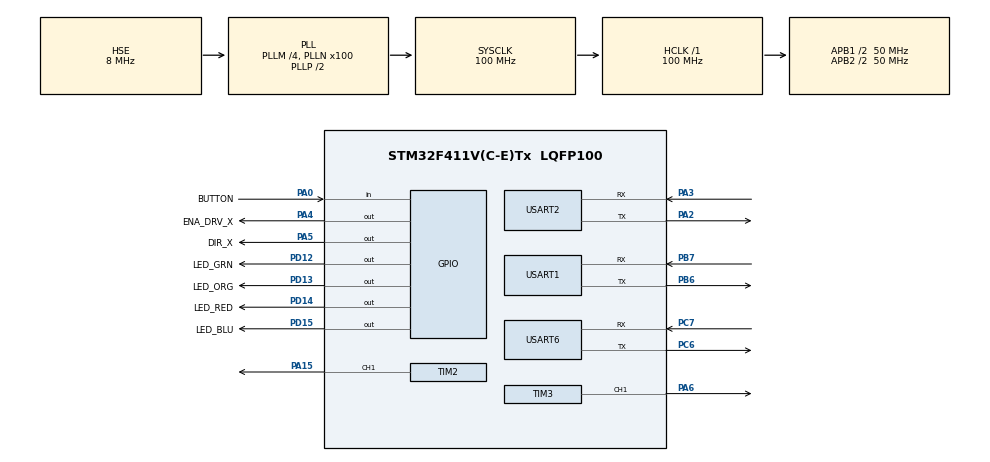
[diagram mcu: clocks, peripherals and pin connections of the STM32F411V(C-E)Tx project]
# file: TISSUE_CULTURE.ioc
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Mcu.Family=STM32F4
Mcu.Name=STM32F411V(C-E)Tx
Mcu.Package=LQFP100
NVIC.PriorityGroup=NVIC_PRIORITYGROUP_4
PA0-WKUP.GPIO_Label=BUTTON
PA0-WKUP.Signal=GPIO_Input
PA15.Signal=S_TIM2_CH1_ETR
PA2.Mode=Asynchronous
PA2.Signal=USART2_TX
PA3.Mode=Asynchronous
PA3.Signal=USART2_RX
PA4.GPIO_Label=ENA_DRV_X
PA4.PinState=GPIO_PIN_SET
PA4.Signal=GPIO_Output
PA5.GPIO_Label=DIR_X
PA5.Signal=GPIO_Output
PA6.Signal=S_TIM3_CH1
PB6.GPIO_ModeDefaultPP=GPIO_MODE_AF_OD
PB6.GPIO_PuPd=GPIO_PULLUP
PB6.Mode=Asynchronous
PB6.Signal=USART1_TX
PB7.Mode=Asynchronous
PB7.Signal=USART1_RX
PC6.Mode=Asynchronous
PC6.Signal=USART6_TX
PC7.Mode=Asynchronous
PC7.Signal=USART6_RX
PD12.GPIO_Label=LED_GRN
PD12.PinState=GPIO_PIN_SET
PD12.Signal=GPIO_Output
PD13.GPIO_Label=LED_ORG
PD13.PinState=GPIO_PIN_SET
PD13.Signal=GPIO_Output
PD14.GPIO_Label=LED_RED
PD14.PinState=GPIO_PIN_SET
PD14.Signal=GPIO_Output
PD15.GPIO_Label=LED_BLU
PD15.PinState=GPIO_PIN_SET
PD15.Signal=GPIO_Output
PH0\ -\ OSC_IN.Mode=HSE-External-Oscillator
PH0\ -\ OSC_IN.Signal=RCC_OSC_IN
PH1\ -\ OSC_OUT.Mode=HSE-External-Oscillator
PH1\ -\ OSC_OUT.Signal=RCC_OSC_OUT
ProjectManager.HeapSize=0x200
ProjectManager.StackSize=0x400
ProjectManager.TargetToolchain=STM32CubeIDE
RCC.48MHZClocksFreq_Value=50000000
RCC.AHBFreq_Value=100000000
RCC.APB1CLKDivider=RCC_HCLK_DIV2
RCC.APB1Freq_Value=50000000
RCC.APB1TimFreq_Value=100000000
RCC.APB2CLKDivider=RCC_HCLK_DIV2
RCC.APB2Freq_Value=50000000
RCC.APB2TimFreq_Value=100000000
RCC.CortexFreq_Value=100000000
RCC.HCLKFreq_Value=100000000
RCC.HSE_VALUE=8000000
RCC.HSI_VALUE=16000000
RCC.LSE_VALUE=32768
RCC.PLLM=4
RCC.PLLN=100
RCC.PLLSourceVirtual=RCC_PLLSOURCE_HSE
RCC.SYSCLKFreq_VALUE=100000000
RCC.SYSCLKSource=RCC_SYSCLKSOURCE_PLLCLK
RCC.VCOOutputFreq_Value=200000000
SH.S_TIM2_CH1_ETR.0=TIM2_CH1,PWM Generation1 CH1
SH.S_TIM3_CH1.0=TIM3_CH1,PWM Generation1 CH1
TIM2.AutoReloadPreload=TIM_AUTORELOAD_PRELOAD_ENABLE
TIM2.Channel-PWM\ Generation1\ CH1=TIM_CHANNEL_1
TIM2.Period=999
TIM2.Prescaler=99
TIM2.Pulse-PWM\ Generation1\ CH1=0
TIM3.AutoReloadPreload=TIM_AUTORELOAD_PRELOAD_ENABLE
TIM3.Channel-PWM\ Generation1\ CH1=TIM_CHANNEL_1
TIM3.Period=99
TIM3.Prescaler=999
TIM3.Pulse-PWM\ Generation1\ CH1=0
USART1.VirtualMode=VM_ASYNC
USART2.VirtualMode=VM_ASYNC
USART6.VirtualMode=VM_ASYNC
VP_TIM2_VS_ClockSourceINT.Mode=Internal
VP_TIM3_VS_ClockSourceINT.Mode=Internal
board=custom

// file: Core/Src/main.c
/* USER CODE BEGIN Header */
/**
 ******************************************************************************
 * @file           : main.c
 * @brief          : Main program body
 ******************************************************************************
 * @attention
 *
 * Copyright (c) 2026 STMicroelectronics.
 * All rights reserved.
 *
 * This software is licensed under terms that can be found in the LICENSE file
 * in the root directory of this software component.
 * If no LICENSE file comes with this software, it is provided AS-IS.
 *
 ******************************************************************************
 */
/* USER CODE END Header */
#include "main.h"

/* USER CODE BEGIN Includes */
#include "program.h"
/* USER CODE END Includes */

TIM_HandleTypeDef htim2;
TIM_HandleTypeDef htim3;

UART_HandleTypeDef huart1;
UART_HandleTypeDef huart2;
UART_HandleTypeDef huart6;

void SystemClock_Config(void);
static void MX_GPIO_Init(void);
static void MX_USART2_UART_Init(void);
static void MX_USART6_UART_Init(void);
static void MX_USART1_UART_Init(void);
static void MX_TIM3_Init(void);
static void MX_TIM2_Init(void);

int main(void)
{

  /* MCU Configuration--------------------------------------------------------*/

  /* Reset of all peripherals, Initializes the Flash interface and the Systick. */
  HAL_Init();

  /* Configure the system clock */
  SystemClock_Config();

  /* Initialize all configured peripherals */
  MX_GPIO_Init();
  MX_USART2_UART_Init();
  MX_USART6_UART_Init();
  MX_USART1_UART_Init();
  MX_TIM3_Init();
  MX_TIM2_Init();
  /* USER CODE BEGIN 2 */

  motor_begin(MOTOR_ID_0);
  check_motor_addr(MOTOR_ID_0);
  motor_rms_current(MOTOR_ID_0, 530);              // Set RMS current
  motor_microstep(MOTOR_ID_0, MICRO_STEPPING_128); // Set microstepping
                                                   //  check_motor_addr(MOTOR_ID_0);
  motor_silent_mode(MOTOR_ID_0, true);             // Enable SilentStepStick mode for quieter operation

  motor_begin(MOTOR_ID_1);
  check_motor_addr(MOTOR_ID_1);
  motor_rms_current(MOTOR_ID_1, 530);              // Set RMS current
  motor_microstep(MOTOR_ID_1, MICRO_STEPPING_128); // Set microstepping
                                                   //  check_motor_addr(MOTOR_ID_0);
  motor_silent_mode(MOTOR_ID_1, true);             // Enable SilentStepStick mode for quieter operation

  // Start PWM on Timer 1, Channel 3
  HAL_TIM_PWM_Start(&htim2, TIM_CHANNEL_1);
  HAL_TIM_PWM_Start(&htim3, TIM_CHANNEL_1);
  /* USER CODE END 2 */

  /* Infinite loop */
  /* USER CODE BEGIN WHILE */
  while (1)
  {
    pwm_set_freq(&htim3, 10000);
    HAL_Delay(3000);
    pwm_set_freq(&htim3, 1000);
    HAL_Delay(3000);
    __HAL_TIM_SET_COMPARE(&htim3, TIM_CHANNEL_1, htim3.Instance->ARR); // Set duty cycle to 25%

    pwm_set_freq(&htim2, 10000);
    HAL_Delay(3000);
    pwm_set_freq(&htim2, 1000);
    HAL_Delay(3000);
    __HAL_TIM_SET_COMPARE(&htim2, TIM_CHANNEL_1, htim2.Instance->ARR); // Set duty cycle to 25%

    /* USER CODE END WHILE */

  }
}

void SystemClock_Config(void)
{
  RCC_OscInitTypeDef RCC_OscInitStruct = {0};
  RCC_ClkInitTypeDef RCC_ClkInitStruct = {0};

  /** Configure the main internal regulator output voltage
   */
  __HAL_RCC_PWR_CLK_ENABLE();
  __HAL_PWR_VOLTAGESCALING_CONFIG(PWR_REGULATOR_VOLTAGE_SCALE1);

  /** Initializes the RCC Oscillators according to the specified parameters
   * in the RCC_OscInitTypeDef structure.
   */
  RCC_OscInitStruct.OscillatorType = RCC_OSCILLATORTYPE_HSE;
  RCC_OscInitStruct.HSEState = RCC_HSE_ON;
  RCC_OscInitStruct.PLL.PLLState = RCC_PLL_ON;
  RCC_OscInitStruct.PLL.PLLSource = RCC_PLLSOURCE_HSE;
  RCC_OscInitStruct.PLL.PLLM = 4;
  RCC_OscInitStruct.PLL.PLLN = 100;
  RCC_OscInitStruct.PLL.PLLP = RCC_PLLP_DIV2;
  RCC_OscInitStruct.PLL.PLLQ = 4;
  if (HAL_RCC_OscConfig(&RCC_OscInitStruct) != HAL_OK)
  {
    Error_Handler();
  }

  /** Initializes the CPU, AHB and APB buses clocks
   */
  RCC_ClkInitStruct.ClockType = RCC_CLOCKTYPE_HCLK | RCC_CLOCKTYPE_SYSCLK | RCC_CLOCKTYPE_PCLK1 | RCC_CLOCKTYPE_PCLK2;
  RCC_ClkInitStruct.SYSCLKSource = RCC_SYSCLKSOURCE_PLLCLK;
  RCC_ClkInitStruct.AHBCLKDivider = RCC_SYSCLK_DIV1;
  RCC_ClkInitStruct.APB1CLKDivider = RCC_HCLK_DIV2;
  RCC_ClkInitStruct.APB2CLKDivider = RCC_HCLK_DIV2;

  if (HAL_RCC_ClockConfig(&RCC_ClkInitStruct, FLASH_LATENCY_3) != HAL_OK)
  {
    Error_Handler();
  }
}

static void MX_TIM2_Init(void)
{

  TIM_ClockConfigTypeDef sClockSourceConfig = {0};
  TIM_MasterConfigTypeDef sMasterConfig = {0};
  TIM_OC_InitTypeDef sConfigOC = {0};

  htim2.Instance = TIM2;
  htim2.Init.Prescaler = 99;
  htim2.Init.CounterMode = TIM_COUNTERMODE_UP;
  htim2.Init.Period = 999;
  htim2.Init.ClockDivision = TIM_CLOCKDIVISION_DIV1;
  htim2.Init.AutoReloadPreload = TIM_AUTORELOAD_PRELOAD_ENABLE;
  if (HAL_TIM_Base_Init(&htim2) != HAL_OK)
  {
    Error_Handler();
  }
  sClockSourceConfig.ClockSource = TIM_CLOCKSOURCE_INTERNAL;
  if (HAL_TIM_ConfigClockSource(&htim2, &sClockSourceConfig) != HAL_OK)
  {
    Error_Handler();
  }
  if (HAL_TIM_PWM_Init(&htim2) != HAL_OK)
  {
    Error_Handler();
  }
  sMasterConfig.MasterOutputTrigger = TIM_TRGO_RESET;
  sMasterConfig.MasterSlaveMode = TIM_MASTERSLAVEMODE_DISABLE;
  if (HAL_TIMEx_MasterConfigSynchronization(&htim2, &sMasterConfig) != HAL_OK)
  {
    Error_Handler();
  }
  sConfigOC.OCMode = TIM_OCMODE_PWM1;
  sConfigOC.Pulse = 0;
  sConfigOC.OCPolarity = TIM_OCPOLARITY_HIGH;
  sConfigOC.OCFastMode = TIM_OCFAST_DISABLE;
  if (HAL_TIM_PWM_ConfigChannel(&htim2, &sConfigOC, TIM_CHANNEL_1) != HAL_OK)
  {
    Error_Handler();
  }
  HAL_TIM_MspPostInit(&htim2);
}

static void MX_TIM3_Init(void)
{

  TIM_ClockConfigTypeDef sClockSourceConfig = {0};
  TIM_MasterConfigTypeDef sMasterConfig = {0};
  TIM_OC_InitTypeDef sConfigOC = {0};

  htim3.Instance = TIM3;
  htim3.Init.Prescaler = 999;
  htim3.Init.CounterMode = TIM_COUNTERMODE_UP;
  htim3.Init.Period = 99;
  htim3.Init.ClockDivision = TIM_CLOCKDIVISION_DIV1;
  htim3.Init.AutoReloadPreload = TIM_AUTORELOAD_PRELOAD_ENABLE;
  if (HAL_TIM_Base_Init(&htim3) != HAL_OK)
  {
    Error_Handler();
  }
  sClockSourceConfig.ClockSource = TIM_CLOCKSOURCE_INTERNAL;
  if (HAL_TIM_ConfigClockSource(&htim3, &sClockSourceConfig) != HAL_OK)
  {
    Error_Handler();
  }
  if (HAL_TIM_PWM_Init(&htim3) != HAL_OK)
  {
    Error_Handler();
  }
  sMasterConfig.MasterOutputTrigger = TIM_TRGO_RESET;
  sMasterConfig.MasterSlaveMode = TIM_MASTERSLAVEMODE_DISABLE;
  if (HAL_TIMEx_MasterConfigSynchronization(&htim3, &sMasterConfig) != HAL_OK)
  {
    Error_Handler();
  }
  sConfigOC.OCMode = TIM_OCMODE_PWM1;
  sConfigOC.Pulse = 0;
  sConfigOC.OCPolarity = TIM_OCPOLARITY_HIGH;
  sConfigOC.OCFastMode = TIM_OCFAST_DISABLE;
  if (HAL_TIM_PWM_ConfigChannel(&htim3, &sConfigOC, TIM_CHANNEL_1) != HAL_OK)
  {
    Error_Handler();
  }
  HAL_TIM_MspPostInit(&htim3);
}

static void MX_USART1_UART_Init(void)
{

  huart1.Instance = USART1;
  huart1.Init.BaudRate = 115200;
  huart1.Init.WordLength = UART_WORDLENGTH_8B;
  huart1.Init.StopBits = UART_STOPBITS_1;
  huart1.Init.Parity = UART_PARITY_NONE;
  huart1.Init.Mode = UART_MODE_TX_RX;
  huart1.Init.HwFlowCtl = UART_HWCONTROL_NONE;
  huart1.Init.OverSampling = UART_OVERSAMPLING_16;
  if (HAL_UART_Init(&huart1) != HAL_OK)
  {
    Error_Handler();
  }
}

static void MX_USART2_UART_Init(void)
{

  huart2.Instance = USART2;
  huart2.Init.BaudRate = 115200;
  huart2.Init.WordLength = UART_WORDLENGTH_8B;
  huart2.Init.StopBits = UART_STOPBITS_1;
  huart2.Init.Parity = UART_PARITY_NONE;
  huart2.Init.Mode = UART_MODE_TX_RX;
  huart2.Init.HwFlowCtl = UART_HWCONTROL_NONE;
  huart2.Init.OverSampling = UART_OVERSAMPLING_16;
  if (HAL_UART_Init(&huart2) != HAL_OK)
  {
    Error_Handler();
  }
}

static void MX_USART6_UART_Init(void)
{

  huart6.Instance = USART6;
  huart6.Init.BaudRate = 115200;
  huart6.Init.WordLength = UART_WORDLENGTH_8B;
  huart6.Init.StopBits = UART_STOPBITS_1;
  huart6.Init.Parity = UART_PARITY_NONE;
  huart6.Init.Mode = UART_MODE_TX_RX;
  huart6.Init.HwFlowCtl = UART_HWCONTROL_NONE;
  huart6.Init.OverSampling = UART_OVERSAMPLING_16;
  if (HAL_UART_Init(&huart6) != HAL_OK)
  {
    Error_Handler();
  }
}

static void MX_GPIO_Init(void)
{
  GPIO_InitTypeDef GPIO_InitStruct = {0};

  /* GPIO Ports Clock Enable */
  __HAL_RCC_GPIOH_CLK_ENABLE();
  __HAL_RCC_GPIOA_CLK_ENABLE();
  __HAL_RCC_GPIOD_CLK_ENABLE();
  __HAL_RCC_GPIOC_CLK_ENABLE();
  __HAL_RCC_GPIOB_CLK_ENABLE();

  /*Configure GPIO pin Output Level */
  HAL_GPIO_WritePin(ENA_DRV_X_GPIO_Port, ENA_DRV_X_Pin, GPIO_PIN_SET);

  /*Configure GPIO pin Output Level */
  HAL_GPIO_WritePin(DIR_X_GPIO_Port, DIR_X_Pin, GPIO_PIN_RESET);

  /*Configure GPIO pin Output Level */
  HAL_GPIO_WritePin(GPIOD, LED_GRN_Pin | LED_ORG_Pin | LED_RED_Pin | LED_BLU_Pin, GPIO_PIN_SET);

  /*Configure GPIO pin : BUTTON_Pin */
  GPIO_InitStruct.Pin = BUTTON_Pin;
  GPIO_InitStruct.Mode = GPIO_MODE_INPUT;
  GPIO_InitStruct.Pull = GPIO_NOPULL;
  HAL_GPIO_Init(BUTTON_GPIO_Port, &GPIO_InitStruct);

  /*Configure GPIO pins : ENA_DRV_X_Pin DIR_X_Pin */
  GPIO_InitStruct.Pin = ENA_DRV_X_Pin | DIR_X_Pin;
  GPIO_InitStruct.Mode = GPIO_MODE_OUTPUT_PP;
  GPIO_InitStruct.Pull = GPIO_NOPULL;
  GPIO_InitStruct.Speed = GPIO_SPEED_FREQ_LOW;
  HAL_GPIO_Init(GPIOA, &GPIO_InitStruct);

  /*Configure GPIO pins : LED_GRN_Pin LED_ORG_Pin LED_RED_Pin LED_BLU_Pin */
  GPIO_InitStruct.Pin = LED_GRN_Pin | LED_ORG_Pin | LED_RED_Pin | LED_BLU_Pin;
  GPIO_InitStruct.Mode = GPIO_MODE_OUTPUT_PP;
  GPIO_InitStruct.Pull = GPIO_NOPULL;
  GPIO_InitStruct.Speed = GPIO_SPEED_FREQ_LOW;
  HAL_GPIO_Init(GPIOD, &GPIO_InitStruct);

}

void Error_Handler(void)
{
  __disable_irq();
  while (1)
  {
  }
}
